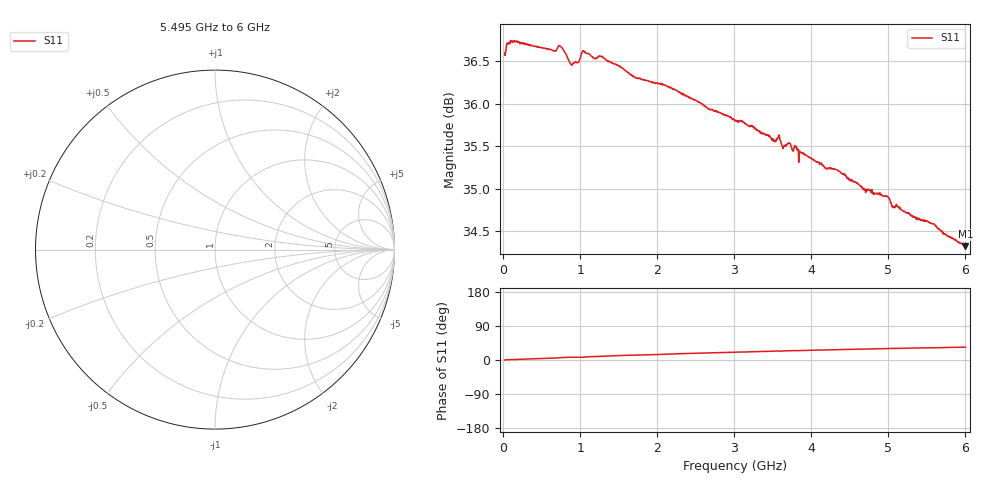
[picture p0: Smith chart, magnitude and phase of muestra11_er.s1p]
! NanoVNA-UTN-Toolkit permittivity export -- NOT S-parameters
! ES: Permitividad relativa compleja de la muestra. NO es S11: se guarda en
! ES: formato Touchstone solo para poder graficarla con visores de .s1p.
! EN: Complex relative permittivity of the sample. NOT S11: the Touchstone
! EN: format is used only so that .s1p viewers can plot it.
! Columns / Columnas: f (Hz) | eps' | eps'' (loss >= 0); eps_r = eps' - j*eps''
! Sample / Muestra: muestra11
! Technique / Tecnica: Open-ended coaxial probe (liquids)
! References / Referencias: water + ipa
! Probe / Sonda: 3 mm probe (C0 0.019 pF)
! Temperature / Temperatura: 23.0 °C
! 1 non-physical point(s) (eps'' < 0 or eps' < 1) kept and flagged / 1 punto(s) no fisico(s) (eps'' < 0 o eps' < 1) conservados y marcados
! Reliable from 45 MHz: points below are not reliable / Confiable desde 45 MHz: los puntos inferiores no son confiables
! Spike removal replaced 1 isolated S11 point(s) before solving / La remocion de picos reemplazo 1 punto(s) aislado(s) de S11
! 2 point(s) without a solution omitted / 2 punto(s) sin solucion omitidos
! Exported / Exportado: 2026-10-24T12:36:06
# Hz S RI R 50
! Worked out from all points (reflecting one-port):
!   1198 points, 15 MHz to 6 GHz, reference 50 ohm
!   lowest |S11| = 34.3 dB at 6 GHz (marker M1)
!   phase of S11 starts at -0 deg and turns +34 deg over the sweep
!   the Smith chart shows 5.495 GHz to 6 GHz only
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1.5e7  67.55 -0.4524
4.5e7  68.46 1.07
1.15e8  68.6 1.506
4e8  68.03 4.226
6.9e8  67.57 6.243
7.65e8  67.56 7.736
8.3e8  66.67 8.416
8.75e8  66.04 8.301
9.95e8  66.56 8.047
1.035e9  67.19 8.917
1.12e9  66.68 10.15
1.22e9  66.32 10.64
1.515e9  64.98 13.55
1.7e9  63.74 14.66
1.945e9  62.97 15.81
2.26e9  61.55 18.19
3.01e9  57.72 21.64
3.495e9  55.26 23.7
3.555e9  55.03 24.22
3.61e9  54.83 23.75
3.675e9  54.32 24.52
3.76e9  53.83 24.55
4.505e9  50.22 26.71
4.965e9  48.24 27.78
5.015e9  47.78 28.16
5.075e9  47.25 27.84
5.255e9  46.49 28.24
6e9  43.21 28.97
